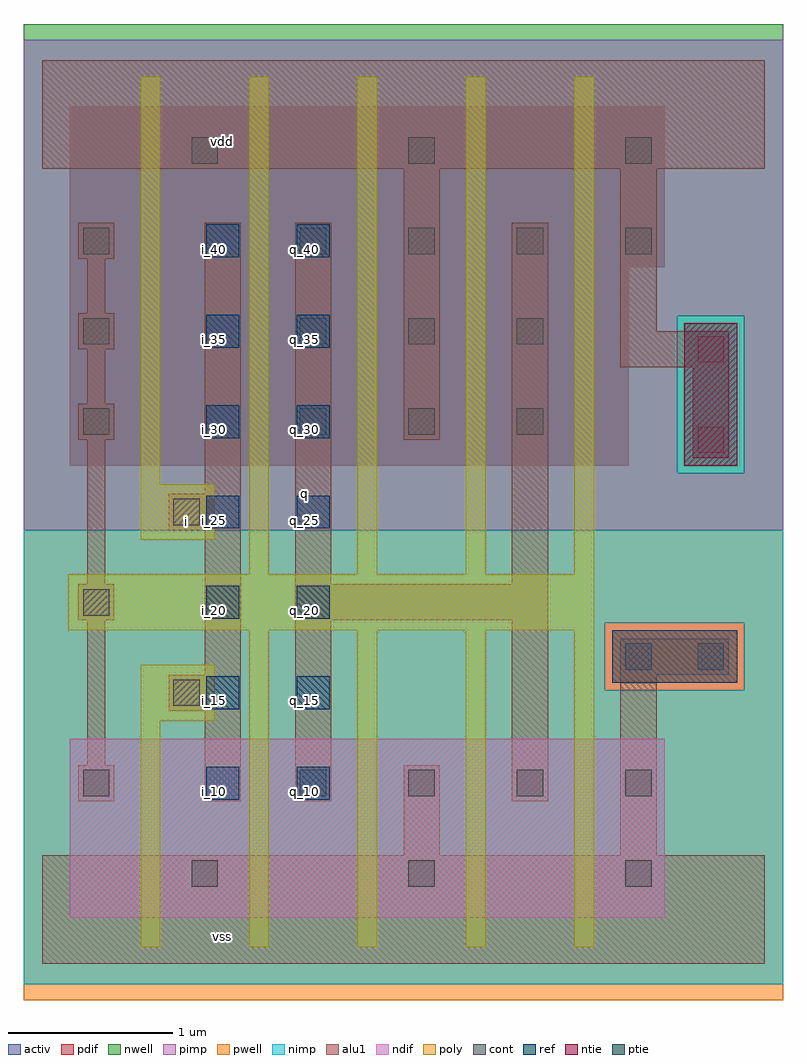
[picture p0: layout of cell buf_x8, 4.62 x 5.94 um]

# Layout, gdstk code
import gdstk
lib = gdstk.Library(unit=1e-6, precision=2.5e-09)
def R(c, l, rs):  # rectangles x0, y0, x1, y1
    for r in rs: c.add(gdstk.rectangle(r[:2], r[2:], *l))
def A(c, l, x, y, w, h, nx, ny, dx, dy):  # array of equal rectangles
    R(c, l, [(x+i*dx, y+j*dy, x+i*dx+w, y+j*dy+h) for i in range(nx) for j in range(ny)])
ndif = (3, 0)
pdif = (4, 0)
ntie = (5, 0)
ptie = (6, 0)
ref = (24, 0)
cont = (25, 0)
pwell = (41, 0)
nwell = (42, 0)
activ = (43, 0)
pimp = (44, 0)
nimp = (45, 0)
poly = (46, 0)
alu1 = (49, 0)

buf_x8 = lib.new_cell('buf_x8')
R(buf_x8, ndif, [(0.17,0.28,3.79,1.37), (0.17,0.28,3.79,1.37)])
R(buf_x8, pdif, [(0.17,3.03,3.57,4.24), (0.17,3.03,3.57,4.24), (0.17,4.24,3.79,5.22), (0.17,4.24,3.79,5.22)])
R(buf_x8, ntie, [(3.91,3.03,4.23,3.9), (3.91,3.03,4.23,3.9)])
R(buf_x8, ptie, [(3.47,1.71,4.23,2.03), (3.47,1.71,4.23,2.03)])
A(buf_x8, ref, 1, 1, 0.2, 0.2, 1, 7, 0, 0.55)
A(buf_x8, ref, 1.55, 1, 0.2, 0.2, 1, 7, 0, 0.55)
A(buf_x8, cont, 0.91, 0.47, 0.16, 0.16, 3, 2, 1.32, 4.4)
A(buf_x8, cont, 0.25, 1.02, 0.16, 0.16, 1, 3, 0, 1.1)
A(buf_x8, cont, 1.57, 1.02, 0.16, 0.16, 4, 2, 0.66, 3.3)
A(buf_x8, cont, 1.57, 3.22, 0.16, 0.16, 3, 2, 0.66, 0.55)
R(buf_x8, cont, [(0.8,1.57,0.96,1.73), (3.55,1.79,3.71,1.95), (3.99,1.79,4.15,1.95), (0.8,2.67,0.96,2.83), (3.99,3.11,4.15,3.27), (3.99,3.66,4.15,3.82), (0.25,3.77,0.41,3.93), (0.25,4.32,0.41,4.48)])
R(buf_x8, pwell, [(-0.11,-0.22,4.51,2.64)])
R(buf_x8, nwell, [(-0.11,2.64,4.51,5.72)])
R(buf_x8, activ, [(0.17,0.28,3.79,1.37), (0.17,0.28,3.79,1.37), (3.47,1.71,4.23,2.03), (3.47,1.71,4.23,2.03), (0.17,3.03,3.57,4.24), (0.17,3.03,3.57,4.24), (3.91,3.03,4.23,3.9), (3.91,3.03,4.23,3.9), (0.17,4.24,3.79,5.22), (0.17,4.24,3.79,5.22)])
R(buf_x8, pimp, [(3.425,1.665,4.275,2.075), (-0.11,2.64,4.51,2.985), (-0.11,2.985,3.865,3.945), (4.275,2.985,4.51,3.945), (-0.11,3.945,4.51,5.625)])
R(buf_x8, nimp, [(-0.11,-0.125,4.51,1.665), (-0.11,1.665,3.425,2.075), (4.275,1.665,4.51,2.075), (-0.11,2.075,4.51,2.64), (3.865,2.985,4.275,3.945)])
A(buf_x8, poly, 1.26, 0.1, 0.12, 1.93, 4, 1, 0.66, 0)
A(buf_x8, poly, 1.26, 2.37, 0.12, 3.03, 4, 1, 0.66, 0)
R(buf_x8, poly, [(0.6,0.1,0.72,1.48), (0.6,1.48,1.05,1.82), (0.16,2.03,3.36,2.37), (0.6,2.58,1.05,2.92), (0.6,2.92,0.72,5.4)])
A(buf_x8, alu1, 0.22, 0.99, 0.22, 0.22, 1, 3, 0, 1.1)
R(buf_x8, alu1, [(0,0,4.4,0.66), (2.2,0.66,2.42,1.21), (3.52,0.66,3.74,1.76), (0.99,0.99,1.21,1.54), (1.54,0.99,1.76,2.09), (2.86,0.99,3.08,2.09), (0.275,1.21,0.385,2.09), (0.77,1.54,1.21,1.76), (0.99,1.76,1.21,2.64), (3.52,1.76,4.18,1.98), (1.54,2.09,3.08,2.31), (0.275,2.31,0.385,3.19), (1.54,2.31,1.76,4.51), (2.86,2.31,3.08,4.51), (0.77,2.64,1.21,2.86), (0.99,2.86,1.21,4.51), (3.96,3.08,4.18,3.63), (2.2,3.19,2.42,4.84), (0.275,3.41,0.385,3.74), (3.52,3.63,4.18,3.85), (0.22,3.74,0.44,3.96), (3.52,3.85,3.74,4.84), (0.275,3.96,0.385,4.29), (0.22,4.29,0.44,4.51), (0,4.84,4.4,5.5)])
buf_x8.add(gdstk.Label('vss', (1.1,0.165), layer=49, texttype=0))
buf_x8.add(gdstk.Label('q', (1.595,2.86), layer=49, texttype=0))
buf_x8.add(gdstk.Label('i', (0.88,2.695), layer=49, texttype=0))
buf_x8.add(gdstk.Label('vdd', (1.1,5.005), layer=49, texttype=0))
buf_x8.add(gdstk.Label('q_20', (1.6,2.15), layer=24, texttype=0))
buf_x8.add(gdstk.Label('q_30', (1.6,3.25), layer=24, texttype=0))
buf_x8.add(gdstk.Label('q_35', (1.6,3.8), layer=24, texttype=0))
buf_x8.add(gdstk.Label('q_40', (1.6,4.35), layer=24, texttype=0))
buf_x8.add(gdstk.Label('q_10', (1.6,1.05), layer=24, texttype=0))
buf_x8.add(gdstk.Label('q_25', (1.6,2.7), layer=24, texttype=0))
buf_x8.add(gdstk.Label('q_15', (1.6,1.6), layer=24, texttype=0))
buf_x8.add(gdstk.Label('i_10', (1.05,1.05), layer=24, texttype=0))
buf_x8.add(gdstk.Label('i_15', (1.05,1.6), layer=24, texttype=0))
buf_x8.add(gdstk.Label('i_40', (1.05,4.35), layer=24, texttype=0))
buf_x8.add(gdstk.Label('i_35', (1.05,3.8), layer=24, texttype=0))
buf_x8.add(gdstk.Label('i_30', (1.05,3.25), layer=24, texttype=0))
buf_x8.add(gdstk.Label('i_25', (1.05,2.7), layer=24, texttype=0))
buf_x8.add(gdstk.Label('i_20', (1.05,2.15), layer=24, texttype=0))

lib.write_gds('buf_x8.gds')
